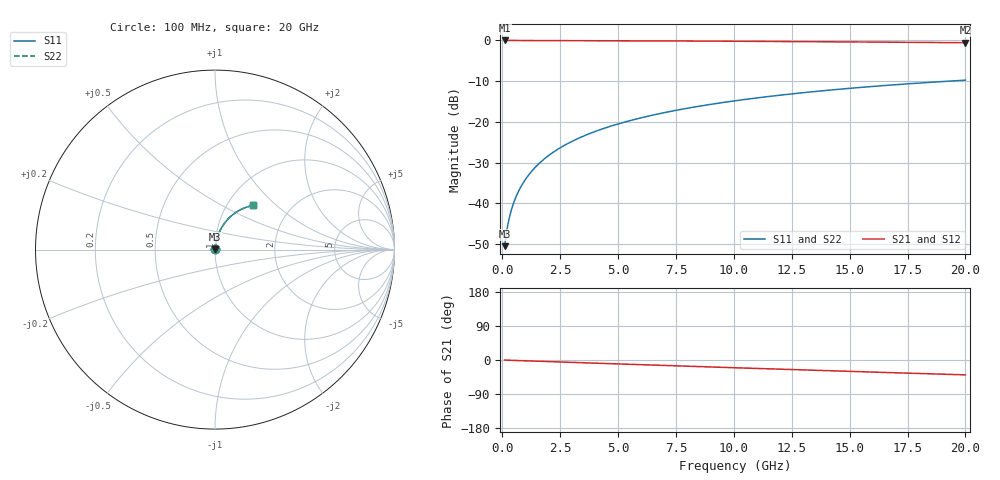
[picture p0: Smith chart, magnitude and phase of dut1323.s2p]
! Touchstone file exported from HFSS 2026.1.0
!  File:  C:/ffzhzh/LocalFiles/Ansys_Project_Files/temp_train_TMRDL_1323_1783165061_43440.aedt
!  Generated:  07:38:55 PM Jul  4, 2026
!  Design:  TMRDL
!  Project:  temp_train_TMRDL_1323_1783165061_43440
! Variables:
!  h_bsmrdl = 2um
!  h_ox = 20um
!  h_rdl = 5um
!  h_sub = 80um
!  h_tmrdl = 4.08um
!  h_tsv = 80um
!  h_via = 3um
!  l_bsmrdl = 300um
!  l_sub = 983.62um
!  l_tmrdl = 583.62um
!  m_sub = 200um
!  pitch = 53.03um
!  r_tsv = 6um
!  s_tmrdl = 10um
!  w_bsmrdl = 18um
!  w_sub = 500um
!  w_tmrdl = 27.77um
!  x_tsv_center1 = 597.505um
!  x_tsv_center2 = 915.505um
!  x_tsv_center3 = 1526.895um
!  x_tsv_center4 = 1844.895um
!  x_tsv_center5 = 2456.285um
!  x_tsv_center6 = 2774.285um
# GHz S MA R 50.000000
! Terminal data exported
! Port[1] = TM_RDL1_1_T1
! Port[2] = TM_RDL1_1_T2
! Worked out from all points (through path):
!   200 points, 100 MHz to 20 GHz, reference 50 ohm
!   highest |S21| = -0.02 dB at 100 MHz (marker M1); lowest = -0.6 dB at 20 GHz (marker M2)
!   group delay of S21, straight-line fit = 5.45 ps
!   lowest |S11| = -50.5 dB at 100 MHz (marker M3), VSWR 1.01, Z = 50.2 + j0.216 ohm
!   |S11| at or under -10 dB: start of sweep to 19.3 GHz
!   |S22| runs from -50.5 to -9.8 dB; largest |S21 - S12| = 2.1e-15
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0.1  0.002983 46.1  0.9979 -0.2  0.9979 -0.2  0.002983 46.1
! Gamma 0 0 0 0
! Port Impedance 50 0 50 0
0.2  0.004762 61.8  0.9978 -0.4  0.9978 -0.4  0.004762 61.8
0.3  0.006617 68.4  0.9976 -0.6  0.9976 -0.6  0.006617 68.4
0.4  0.008468 72.0  0.9975 -0.9  0.9975 -0.9  0.008469 72.0
0.5  0.01032 74.5  0.9974 -1.1  0.9974 -1.1  0.01032 74.5
0.7  0.01404 77.5  0.9973 -1.5  0.9973 -1.5  0.01404 77.5
0.9  0.0178 79.1  0.9971 -1.9  0.9971 -1.9  0.0178 79.1
1.1  0.02158 80.1  0.997 -2.3  0.997 -2.3  0.02158 80.1
1.5  0.02916 81.0  0.9967 -3.1  0.9967 -3.1  0.02916 81.0
1.8  0.03485 81.1  0.9964 -3.8  0.9964 -3.8  0.03485 81.1
2.1  0.04053 81.1  0.996 -4.4  0.996 -4.4  0.04053 81.1
2.7  0.05185 80.5  0.9952 -5.6  0.9952 -5.6  0.05185 80.5
3.5  0.06681 79.4  0.9939 -7.3  0.9939 -7.3  0.06681 79.4
4.2  0.07974 78.2  0.9925 -8.7  0.9925 -8.7  0.07974 78.2
5  0.09432 76.8  0.9908 -10.4  0.9908 -10.4  0.09433 76.7
5.9  0.1105 75.1  0.9886 -12.2  0.9886 -12.2  0.1105 75.1
6.8  0.1264 73.4  0.9863 -14.0  0.9863 -14.0  0.1264 73.4
8.3  0.1522 70.6  0.9819 -17.0  0.9819 -17.0  0.1522 70.6
10.1  0.1823 67.2  0.9761 -20.6  0.9761 -20.6  0.1823 67.2
13.4  0.2343 61.1  0.9641 -27.0  0.9641 -27.0  0.2343 61.1
16.7  0.282 55.1  0.9506 -33.2  0.9506 -33.2  0.282 55.0
20  0.3249 49.2  0.9365 -39.2  0.9365 -39.2  0.325 49.1
